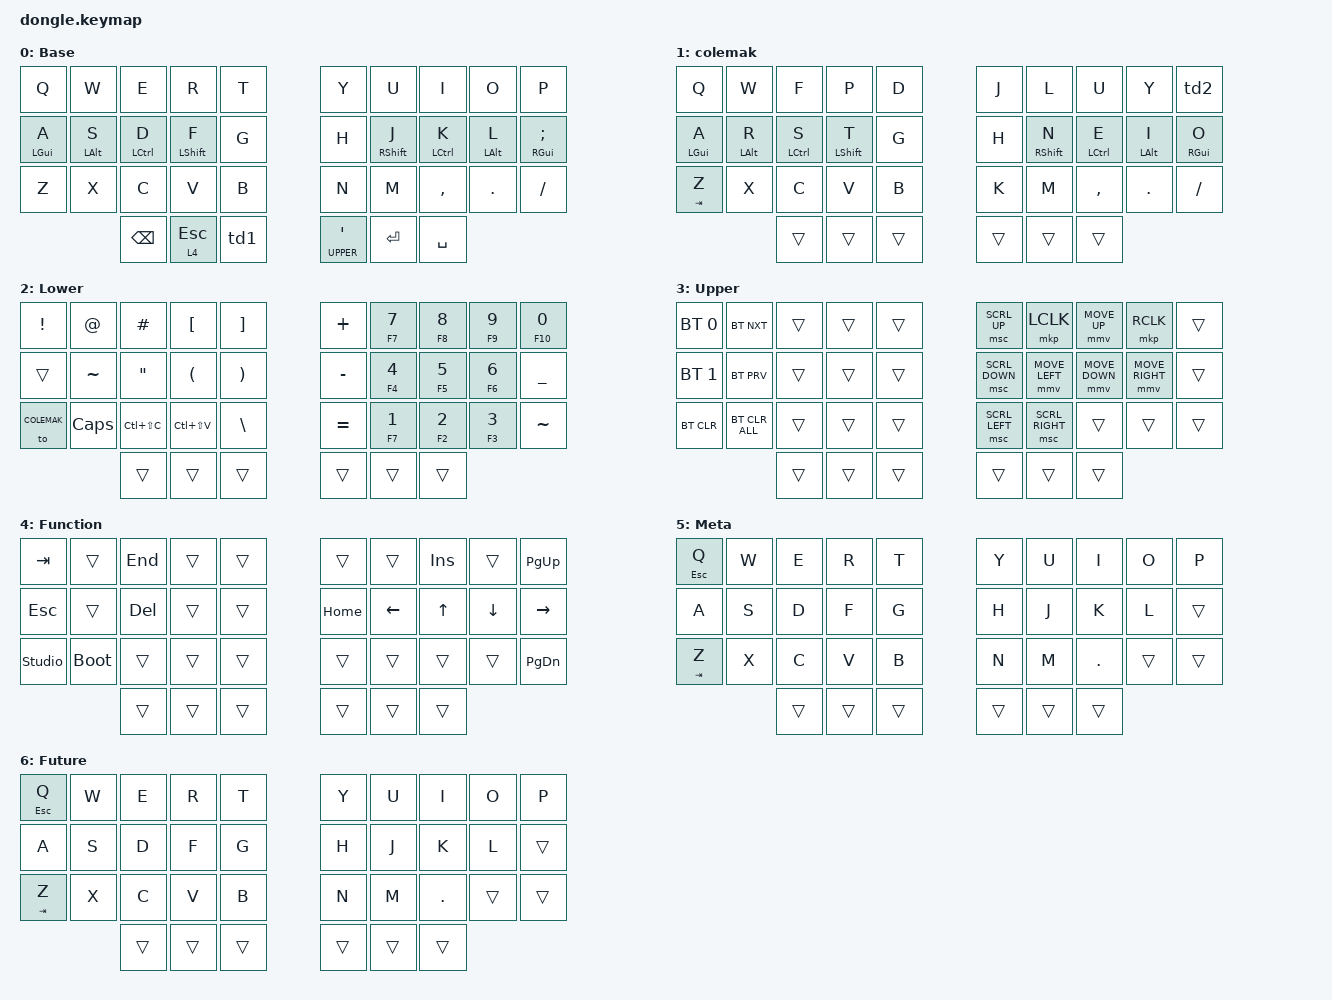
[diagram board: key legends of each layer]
/*
 * Copyright (c) 2023 The ZMK Contributors
 *
 * SPDX-License-Identifier: MIT
 */

#include <behaviors.dtsi>
#include <dt-bindings/zmk/bt.h>
#include <dt-bindings/zmk/keys.h>
#include "mouse.dtsi"
#include "zmk-helpers/helper.h"
#include "zmk-helpers/key-labels/36.h"                                      // key-position labels
#define KEYS_L LT0 LT1 LT2 LT3 LT4 LM0 LM1 LM2 LM3 LM4 LB0 LB1 LB2 LB3 LB4  // left-hand keys
#define KEYS_R RT0 RT1 RT2 RT3 RT4 RM0 RM1 RM2 RM3 RM4 RB0 RB1 RB2 RB3 RB4  // right-hand keys
#define THUMBS LH2 LH1 LH0 RH0 RH1 RH2                                      // thumb keys

/* left-hand HRMs */
ZMK_HOLD_TAP(hml,
    flavor = "balanced";
    tapping-term-ms = <280>;
    quick-tap-ms = <175>;                // repeat on tap-into-hold
    require-prior-idle-ms = <150>;
    bindings = <&kp>, <&kp>;
    hold-trigger-key-positions = <KEYS_R THUMBS>;
    hold-trigger-on-release;             // delay positional check until key-release
)

/* right-hand HRMs */
ZMK_HOLD_TAP(hmr,
    flavor = "balanced";
    tapping-term-ms = <280>;
    quick-tap-ms = <175>;                // repeat on tap-into-hold
    require-prior-idle-ms = <150>;
    bindings = <&kp>, <&kp>;
    hold-trigger-key-positions = <KEYS_L THUMBS>;
    hold-trigger-on-release;             // delay positional check until key-release
)


#define BASE  0
#define COLEMAK  1
#define LOWER  2
#define UPPER  3
#define FUNCTION  4 
#define META  5

/ {
    behaviors {
        td1: td_mo2_tg4 {
            compatible = "zmk,behavior-tap-dance";
            #binding-cells = <0>;
            tapping-term-ms = <250>;
            bindings = <&mo LOWER>, <&tog META>;
        };

        td2: td_to2_semi {
            compatible = "zmk,behavior-tap-dance";
            #binding-cells = <0>;
            tapping-term-ms = <250>;
            bindings = <&kp SEMI>, <&to BASE>;
        };

        rpi: require_prior_idle {
            compatible = "zmk,behavior-hold-tap";
            #binding-cells = <2>;
            flavor = "tap-preferred";
            tapping-term-ms = <200>;
            quick-tap-ms = <200>;
            require-prior-idle-ms = <100>;
            bindings = <&kp>, <&kp>;
        };

        rpi_a: rpi_a {
            compatible = "zmk,behavior-hold-tap";
            #binding-cells = <2>;
            tapping-term-ms = <350>;
            quick-tap-ms = <220>;
            require-prior-idle-ms = <500>;
            flavor = "tap-preferred";
            bindings = <&kp>, <&kp>;
        };

        func: func {
            compatible = "zmk,behavior-hold-tap";
            bindings = <&kp>, <&kp>;
            #binding-cells = <2>;
            tapping-term-ms = <250>;
            flavor = "balanced";
            quick-tap-ms = <180>;
            require-prior-idle-ms = <115>;
            hold-trigger-key-positions = <16 17 18 6 7 8 9 28 27 26>;
        };
    };
};

/ {
  combos {
     compatible = "zmk,combos";
     combo_lgui {
            timeout-ms = <100>;
            key-positions = <10 20>;
            bindings = <&kp LEFT_GUI>;
            layers = <1>;
     };
     combo_lalt {
            timeout-ms = <100>;
            key-positions = <11 21>;
            bindings = <&kp LALT>;
            layers = <1>;
     };
     combo_lctl {
            timeout-ms = <100>;
            key-positions = <12 22>;
            bindings = <&kp LCTRL>;
            layers = <1>;
     };
     combo_lshift {
            timeout-ms = <100>;
            key-positions = <13 23>;
            bindings = <&kp LS(SEMI)>;
            layers = <1>;
     };
     combo_rshift {
            timeout-ms = <100>;
            key-positions = <16 26>;
            bindings = <&kp LSHFT>;
            layers = <1>;
     };
     combo_rctrl {
            timeout-ms = <100>;
            key-positions = <17 27>;
            bindings = <&kp LCTRL>;
            layers = <1>;
     };
     combo_ralt {
            timeout-ms = <100>;
            key-positions = <18 28>;
            bindings = <&kp LALT>; 
            layers = <1>;
     }; 
     combo_rgui {
            timeout-ms = <100>;
            key-positions = <19 29>;
            bindings = <&kp RGUI>; 
            layers = <1>;
  };
};
};

/ {
    keymap {
        compatible = "zmk,keymap";
        BASE {
            display-name = "Base";
            bindings = <
&kp Q           &kp W        &kp E        &kp R        &kp T &kp Y         &kp U        &kp I        &kp O        &kp P
&hml LEFT_GUI A &hml LALT S  &hml LCTRL D &hml LSHFT F &kp G &kp H         &hmr RSHFT J &hmr LCTRL K &hmr LALT L  &hmr RGUI SEMI
&kp Z           &kp X        &kp C        &kp V        &kp B &kp N         &kp M        &kp COMMA    &kp DOT      &kp SLASH
                             &kp BSPC     &lt 4 ESC    &td1  &lt UPPER SQT &kp ENTER    &kp SPACE
            >;
        };

        COLEMAK {
        display-name = "colemak";
        bindings = <
&kp Q           &kp W       &kp F        &kp P        &kp D  &kp J  &kp L        &kp U        &kp Y       &td2
&hml LEFT_GUI A &hml LALT R &hml LCTRL S &hml LSHFT T &kp G  &kp H  &hmr RSHFT N &hmr LCTRL E &hmr LALT I &hmr RGUI O
&mt TAB Z       &kp X       &kp C        &kp V        &kp B  &kp K  &kp M        &kp COMMA    &kp DOT     &kp SLASH
                            &trans       &trans       &trans &trans &trans       &trans  
            >;
        };

        LOWER {
            display-name = "Lower";
            bindings = <
&kp EXCL    &kp AT    &kp HASH      &kp LBKT             &kp RBKT              &kp PLUS  &func F7 N7 &func F8 N8 &func F9 N9 &func F10 N0
&trans      &kp TILDE &kp DQT       &kp LEFT_PARENTHESIS &kp RIGHT_PARENTHESIS &kp MINUS &func F4 N4 &func F5 N5 &func F6 N6 &kp UNDER
&to COLEMAK &kp CAPS    &kp LC(LS(C)) &kp LC(LS(V))        &kp BSLH              &kp EQUAL &func F7 N1 &func F2 N2 &func F3 N3 &kp TILDE
                      &trans        &trans               &trans                &trans    &trans      &trans
            >;
        };

        UPPER {
            display-name = "Upper";
            bindings = <
&bt BT_SEL 0 &bt BT_NXT     &trans &trans  &trans &msc SCRL_UP   &mkp LCLK       &mmv MOVE_UP   &mkp RCLK       &trans
&bt BT_SEL 1 &bt BT_PRV     &trans &trans  &trans &msc SCRL_DOWN &mmv MOVE_LEFT  &mmv MOVE_DOWN &mmv MOVE_RIGHT &trans
&bt BT_CLR   &bt BT_CLR_ALL &trans &trans  &trans &msc SCRL_LEFT &msc SCRL_RIGHT &trans         &trans          &trans
                            &trans &trans &trans  &trans         &trans          &trans
            >;
        }; 

        FUNCTION {
            display-name = "Function";
            bindings = <
&kp TAB        &trans      &kp END &trans  &trans  &trans    &trans    &kp INS  &trans    &kp PG_UP
&kp ESC        &trans      &kp DEL &trans  &trans  &kp HOME  &kp LEFT  &kp UP   &kp DOWN  &kp RIGHT
&studio_unlock &bootloader &trans  &trans  &trans  &trans    &trans    &trans   &trans    &kp PG_DN
                           &trans  &trans  &trans  &trans    &trans    &trans
            >;
        };

        META {
            display-name = "Meta";
            bindings = <
&mt ESC Q  &kp W  &kp E  &kp R   &kp T    &kp Y     &kp U  &kp I      &kp O      &kp P
&kp A      &kp S  &kp D  &kp F   &kp G    &kp H     &kp J  &kp K      &kp L      &trans
&mt TAB Z  &kp X  &kp C  &kp V   &kp B    &kp N     &kp M  &kp DOT    &trans     &trans
                  &trans &trans  &trans   &trans    &trans &trans  
            >;
        };

        FUTURE {
            display-name = "Future";
            bindings = <
&mt ESC Q &kp W &kp E  &kp R  &kp T  &kp Y  &kp U  &kp I   &kp O  &kp P
&kp A     &kp S &kp D  &kp F  &kp G  &kp H  &kp J  &kp K   &kp L  &trans
&mt TAB Z &kp X &kp C  &kp V  &kp B  &kp N  &kp M  &kp DOT &trans &trans
                &trans &trans &trans &trans &trans &trans
            >;
        };
};
};
